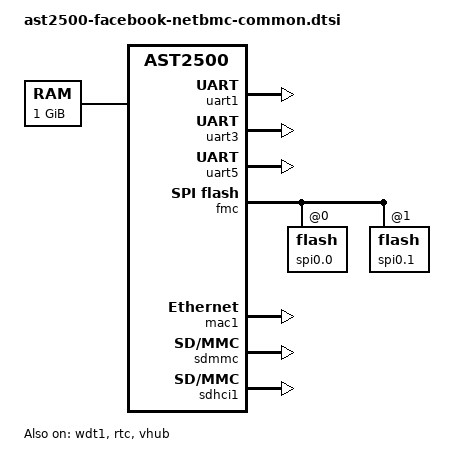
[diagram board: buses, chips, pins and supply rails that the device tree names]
#include "aspeed-g5.dtsi"
/ {
	aliases {
		spi0 = &fmc;
	};
	memory@80000000 {
		reg = <0x80000000 0x40000000>;
	};
};
&wdt1 {
	status = "okay";
	aspeed,reset-type = "system";
};
&wdt2 {
	status = "disabled";
};
&uart1 {
	status = "okay";
	pinctrl-names = "default";
	pinctrl-0 = <&pinctrl_txd1_default
		     &pinctrl_rxd1_default>;
};
&uart3 {
	status = "okay";
	pinctrl-names = "default";
	pinctrl-0 = <&pinctrl_txd3_default
		     &pinctrl_rxd3_default>;
};
&uart5 {
	status = "okay";
};
&fmc {
	status = "okay";
	fmc_flash0: flash@0 {
		status = "okay";
		m25p,fast-read;
		label = "spi0.0";
	};
	fmc_flash1: flash@1 {
		status = "okay";
		m25p,fast-read;
		label = "spi0.1";
	};
};
&mac1 {
	status = "okay";
	pinctrl-names = "default";
	pinctrl-0 = <&pinctrl_rgmii2_default &pinctrl_mdio2_default>;
};
&rtc {
	status = "okay";
};
&vhub {
	status = "okay";
};
&sdmmc {
	status = "okay";
};
&sdhci1 {
	status = "okay";
	pinctrl-names = "default";
	pinctrl-0 = <&pinctrl_sd2_default>;
};
